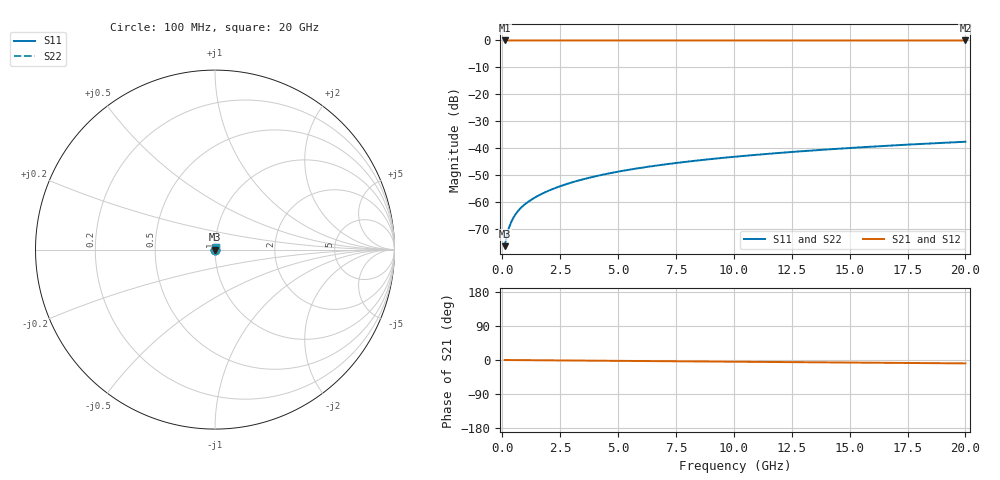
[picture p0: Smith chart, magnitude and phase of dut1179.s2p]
! Touchstone file exported from HFSS 2026.1.0
!  File:  C:/ffzhzh/LocalFiles/Ansys_Project_Files/temp_train_TSV_1179_1783192194_18472.aedt
!  Generated:  03:11:17 AM Jul  5, 2026
!  Design:  TSV
!  Project:  temp_train_TSV_1179_1783192194_18472
! Variables:
!  h_bsmrdl = 2um
!  h_ox = 20um
!  h_rdl = 5um
!  h_sub = 88.64um
!  h_tmrdl = 5um
!  h_tsv = 88.64um
!  h_via = 3um
!  l_bsmrdl = 300um
!  l_sub = 423.32um
!  l_tmrdl = 200um
!  m_sub = 200um
!  pitch = 51.53um
!  r_tsv = 11.66um
!  s_tmrdl = 10um
!  w_bsmrdl = 18um
!  w_sub = 500um
!  w_tmrdl = 12um
!  x_tsv_center1 = 206um
!  x_tsv_center2 = 524um
!  x_tsv_center3 = 736um
!  x_tsv_center4 = 1054um
!  x_tsv_center5 = 1266um
!  x_tsv_center6 = 1584um
# GHz S MA R 50.000000
! Terminal data exported
! Port[1] = TSV1_1_T1
! Port[2] = TSV1_1_T2
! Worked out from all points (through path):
!   200 points, 100 MHz to 20 GHz, reference 50 ohm
!   highest |S21| = 0.00 dB at 100 MHz (marker M1); lowest = 0.0 dB at 20 GHz (marker M2)
!   group delay of S21, straight-line fit = 1.24 ps
!   lowest |S11| = -76.2 dB at 100 MHz (marker M3), VSWR 1.00, Z = 50 + j0.0111 ohm
!   |S11| at or under -10 dB: start of sweep to end of sweep
!   |S22| runs from -76.2 to -37.5 dB; largest |S21 - S12| = 2.5e-15
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0.1  0.0001549 45.8  0.9999 -0.0  0.9999 -0.0  0.0001549 45.8
! Gamma 0 0 0 0
! Port Impedance 50 0 50 0
0.2  0.0002502 61.0  0.9999 -0.1  0.9999 -0.1  0.0002502 61.0
0.3  0.0003509 66.3  0.9999 -0.1  0.9999 -0.1  0.0003509 66.3
0.4  0.0004485 68.5  0.9998 -0.2  0.9998 -0.2  0.0004485 68.5
0.5  0.0005411 69.5  0.9998 -0.2  0.9998 -0.2  0.0005411 69.5
0.6  0.0006286 70.0  0.9998 -0.3  0.9998 -0.3  0.0006286 70.0
0.7  0.0007116 70.4  0.9998 -0.3  0.9998 -0.3  0.0007115 70.4
0.9  0.0008673 71.1  0.9997 -0.4  0.9997 -0.4  0.0008673 71.1
1.1  0.001014 71.8  0.9997 -0.5  0.9997 -0.5  0.001014 71.8
1.3  0.001157 72.6  0.9997 -0.6  0.9997 -0.6  0.001157 72.6
1.6  0.001368 73.7  0.9996 -0.7  0.9996 -0.7  0.001368 73.7
1.9  0.001578 74.6  0.9996 -0.9  0.9996 -0.9  0.001578 74.6
2.6  0.002067 76.3  0.9995 -1.2  0.9995 -1.2  0.002067 76.3
3.5  0.002691 77.4  0.9995 -1.6  0.9995 -1.6  0.002691 77.4
4.2  0.003172 77.9  0.9994 -1.9  0.9994 -1.9  0.003172 77.9
5  0.003715 78.2  0.9994 -2.3  0.9994 -2.3  0.003715 78.2
6.8  0.004914 78.5  0.9993 -3.1  0.9993 -3.1  0.004914 78.5
8.3  0.005897 78.5  0.9992 -3.7  0.9992 -3.7  0.005897 78.5
10.1  0.007063 78.3  0.9991 -4.5  0.9991 -4.5  0.007063 78.3
13.4  0.009176 77.7  0.999 -6.0  0.999 -6.0  0.009176 77.7
16.7  0.01126 76.8  0.9988 -7.5  0.9988 -7.5  0.01126 76.8
20  0.0133 75.7  0.9987 -9.0  0.9987 -9.0  0.0133 75.7
